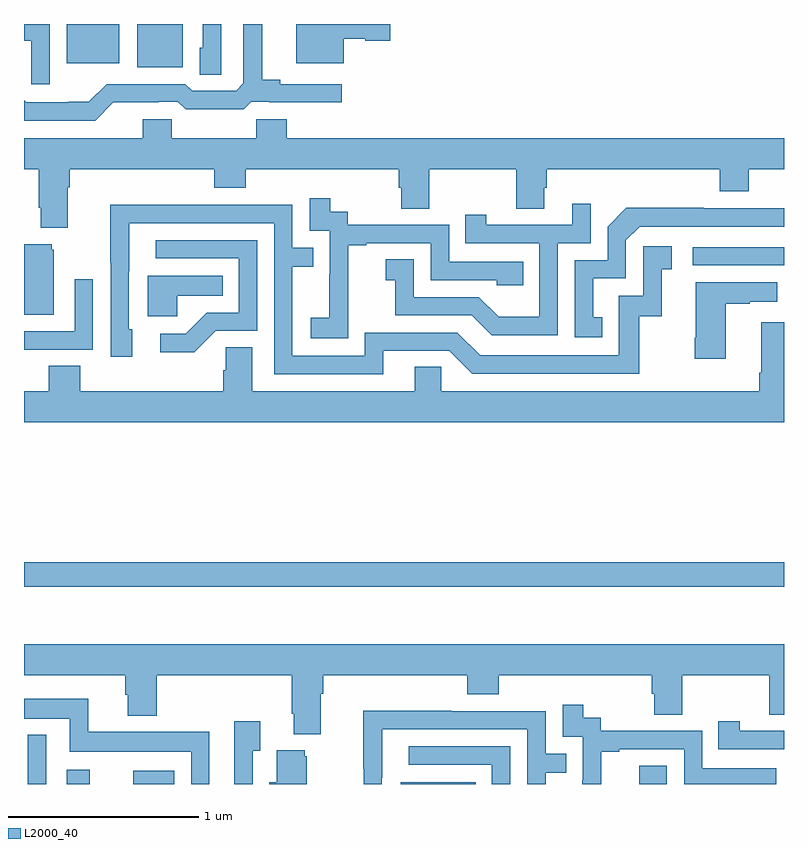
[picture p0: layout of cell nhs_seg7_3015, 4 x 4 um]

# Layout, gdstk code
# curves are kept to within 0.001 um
import gdstk
lib = gdstk.Library(unit=1e-6, precision=1e-09)
def R(c, l, rs):  # rectangles x0, y0, x1, y1
    for r in rs: c.add(gdstk.rectangle(r[:2], r[2:], *l))
def P(c, l, *ps):  # polygons
    for p in ps: c.add(gdstk.Polygon(p, *l))
L2000_40 = (2000, 40)

nhs_seg7_3015 = lib.new_cell('nhs_seg7_3015')
R(nhs_seg7_3015, L2000_40, [(303.021,1044,303.117,1044.259), (303.224,1044,303.346,1044.076), (303.575,1044,303.79,1044.07), (304.982,1044,305.378,1044.01), (306.237,1044,306.384,1044.097), (303,1045.038,307,1045.166), (306.519,1046.73,307,1046.826), (303.596,1047.773,303.835,1048), (303.224,1047.794,303.502,1048)])
P(nhs_seg7_3015, L2000_40, [(304.684,1047.923),(304.797,1047.923),(304.797,1047.911),(304.927,1047.911),(304.927,1048),(304.433,1048),(304.433,1047.794),(304.684,1047.794)],
  [(304.038,1048),(303.942,1048),(303.942,1047.876),(303.926,1047.876),(303.926,1047.733),(304.038,1047.733)],
  [(303.47,1047.587),(303.71,1047.587),(303.71,1047.591),(303.81,1047.591),(303.85,1047.552),(304.157,1047.552),(304.197,1047.591),(304.291,1047.591),(304.291,1047.587),(304.672,1047.587),(304.672,1047.684),(304.348,1047.684),(304.348,1047.707),(304.253,1047.707),(304.253,1048),(304.155,1048),(304.155,1047.687),(304.116,1047.648),(303.885,1047.648),(303.849,1047.684),(303.435,1047.684),(303.341,1047.59),(303.236,1047.59),(303.236,1047.588),(303.012,1047.588),(303,1047.6),(303,1047.492),(303.375,1047.492)],
  [(303.135,1048),(303,1048),(303,1047.912),(303.039,1047.912),(303.039,1047.684),(303.135,1047.684)],
  [(303.229,1047.14),(303.242,1047.14),(303.242,1047.236),(304.001,1047.236),(304.001,1047.137),(304.166,1047.137),(304.166,1047.236),(304.973,1047.236),(304.973,1047.138),(304.985,1047.138),(304.985,1047.028),(305.133,1047.028),(305.133,1047.236),(305.59,1047.236),(305.59,1047.028),(305.737,1047.028),(305.737,1047.138),(305.75,1047.138),(305.75,1047.236),(306.662,1047.236),(306.662,1047.119),(306.814,1047.119),(306.814,1047.236),(307,1047.236),(307,1047.4),(304.382,1047.4),(304.382,1047.498),(304.222,1047.498),(304.222,1047.4),(303.777,1047.4),(303.777,1047.498),(303.626,1047.498),(303.626,1047.4),(303,1047.4),(303,1047.236),(303.077,1047.236),(303.077,1047.034),(303.089,1047.034),(303.089,1046.927),(303.229,1046.927)],
  [(304.707,1046.551),(304.706,1046.551),(304.706,1046.835),(304.801,1046.835),(304.801,1046.847),(305.142,1046.847),(305.142,1046.652),(305.487,1046.652),(305.487,1046.625),(305.627,1046.625),(305.627,1046.748),(305.238,1046.748),(305.238,1046.943),(304.704,1046.943),(304.704,1047.012),(304.612,1047.012),(304.612,1047.082),(304.503,1047.082),(304.503,1046.913),(304.608,1046.913),(304.608,1046.684),(304.607,1046.684),(304.607,1046.455),(304.509,1046.455),(304.509,1046.345),(304.707,1046.345)],
  [(305.808,1046.847),(305.982,1046.847),(305.982,1047.055),(305.885,1047.055),(305.885,1046.943),(305.434,1046.943),(305.434,1046.995),(305.323,1046.995),(305.323,1046.847),(305.712,1046.847),(305.712,1046.458),(305.498,1046.458),(305.394,1046.562),(305.052,1046.562),(305.052,1046.761),(304.905,1046.761),(304.905,1046.651),(304.954,1046.651),(304.954,1046.466),(305.357,1046.466),(305.462,1046.361),(305.808,1046.361)],
  [(304.891,1046.28),(305.238,1046.28),(305.358,1046.16),(306.238,1046.16),(306.238,1046.463),(306.356,1046.463),(306.356,1046.709),(306.409,1046.709),(306.409,1046.83),(306.258,1046.83),(306.258,1046.571),(306.129,1046.571),(306.129,1046.256),(305.4,1046.256),(305.28,1046.376),(304.794,1046.376),(304.794,1046.253),(304.413,1046.253),(304.413,1046.722),(304.523,1046.722),(304.523,1046.823),(304.413,1046.823),(304.413,1047.048),(303.917,1047.048),(303.917,1047.05),(303.454,1047.05),(303.454,1046.743),(303.456,1046.743),(303.456,1046.25),(303.571,1046.25),(303.571,1046.394),(303.552,1046.394),(303.553,1046.952),(304.317,1046.952),(304.317,1046.157),(304.891,1046.157)],
  [(306.044,1046.457),(305.995,1046.457),(305.995,1046.661),(306.168,1046.661),(306.168,1046.862),(306.24,1046.934),(307,1046.934),(307,1047.03),(306.578,1047.03),(306.578,1047.032),(306.17,1047.032),(306.072,1046.934),(306.072,1046.757),(305.898,1046.757),(305.898,1046.352),(306.044,1046.352)],
  [(304.008,1046.385),(304.227,1046.385),(304.227,1046.862),(303.693,1046.862),(303.693,1046.766),(304.131,1046.766),(304.131,1046.481),(303.962,1046.481),(303.851,1046.37),(303.717,1046.37),(303.717,1046.273),(303.895,1046.273)],
  [(303.157,1046.811),(303.146,1046.811),(303.146,1046.842),(303,1046.842),(303,1046.471),(303.157,1046.471)],
  [(303.807,1046.57),(304.046,1046.57),(304.046,1046.674),(303.65,1046.674),(303.65,1046.462),(303.807,1046.462)],
  [(303.047,1046.286),(303.363,1046.286),(303.363,1046.656),(303.267,1046.656),(303.267,1046.382),(303,1046.382),(303,1046.285),(303.047,1046.285)],
  [(306.694,1046.527),(306.821,1046.527),(306.821,1046.537),(306.964,1046.537),(306.964,1046.641),(306.536,1046.641),(306.536,1046.35),(306.529,1046.35),(306.529,1046.238),(306.694,1046.238)],
  [(307,1046.43),(306.881,1046.43),(306.881,1046.164),(306.869,1046.164),(306.869,1046.068),(305.196,1046.068),(305.196,1046.195),(305.057,1046.195),(305.057,1046.068),(304.201,1046.068),(304.201,1046.3),(304.062,1046.3),(304.062,1046.177),(304.049,1046.177),(304.049,1046.068),(303.296,1046.068),(303.296,1046.201),(303.131,1046.201),(303.131,1046.068),(303,1046.068),(303,1045.904),(307,1045.904)],
  [(304.561,1044.476),(304.574,1044.476),(304.574,1044.572),(305.333,1044.572),(305.333,1044.473),(305.498,1044.473),(305.498,1044.572),(306.305,1044.572),(306.305,1044.474),(306.317,1044.474),(306.317,1044.364),(306.465,1044.364),(306.465,1044.572),(306.922,1044.572),(306.922,1044.364),(307,1044.364),(307,1044.736),(303,1044.736),(303,1044.572),(303.533,1044.572),(303.533,1044.471),(303.545,1044.471),(303.545,1044.359),(303.698,1044.359),(303.698,1044.572),(304.409,1044.572),(304.409,1044.37),(304.421,1044.37),(304.421,1044.263),(304.561,1044.263)],
  [(303.976,1044.274),(303.338,1044.274),(303.338,1044.448),(303,1044.448),(303,1044.344),(303.24,1044.344),(303.24,1044.17),(303.879,1044.17),(303.879,1044),(303.976,1044)],
  [(306.038,1044.171),(306.133,1044.171),(306.133,1044.183),(306.474,1044.183),(306.474,1044),(306.959,1044),(306.959,1044.084),(306.57,1044.084),(306.57,1044.279),(306.036,1044.279),(306.036,1044.348),(305.944,1044.348),(305.944,1044.418),(305.835,1044.418),(305.835,1044.249),(305.94,1044.249),(305.94,1044.02),(305.939,1044.02),(305.939,1044),(306.038,1044)],
  [(304.884,1044.034),(304.885,1044.034),(304.885,1044.288),(305.649,1044.288),(305.649,1044),(305.745,1044),(305.745,1044.058),(305.855,1044.058),(305.855,1044.159),(305.745,1044.159),(305.745,1044.384),(305.249,1044.384),(305.249,1044.386),(304.786,1044.386),(304.786,1044.079),(304.788,1044.079),(304.788,1044),(304.884,1044)],
  [(304.203,1044.175),(304.243,1044.175),(304.243,1044.331),(304.106,1044.331),(304.106,1044),(304.203,1044)],
  [(307,1044.279),(306.766,1044.279),(306.766,1044.331),(306.655,1044.331),(306.655,1044.183),(307,1044.183)],
  [(305.559,1044.198),(305.025,1044.198),(305.025,1044.102),(305.463,1044.102),(305.463,1044),(305.559,1044)],
  [(304.489,1044.147),(304.478,1044.147),(304.478,1044.178),(304.331,1044.178),(304.331,1044.01),(304.292,1044.01),(304.292,1044),(304.489,1044)])

lib.write_gds('nhs_seg7_3015.gds')
